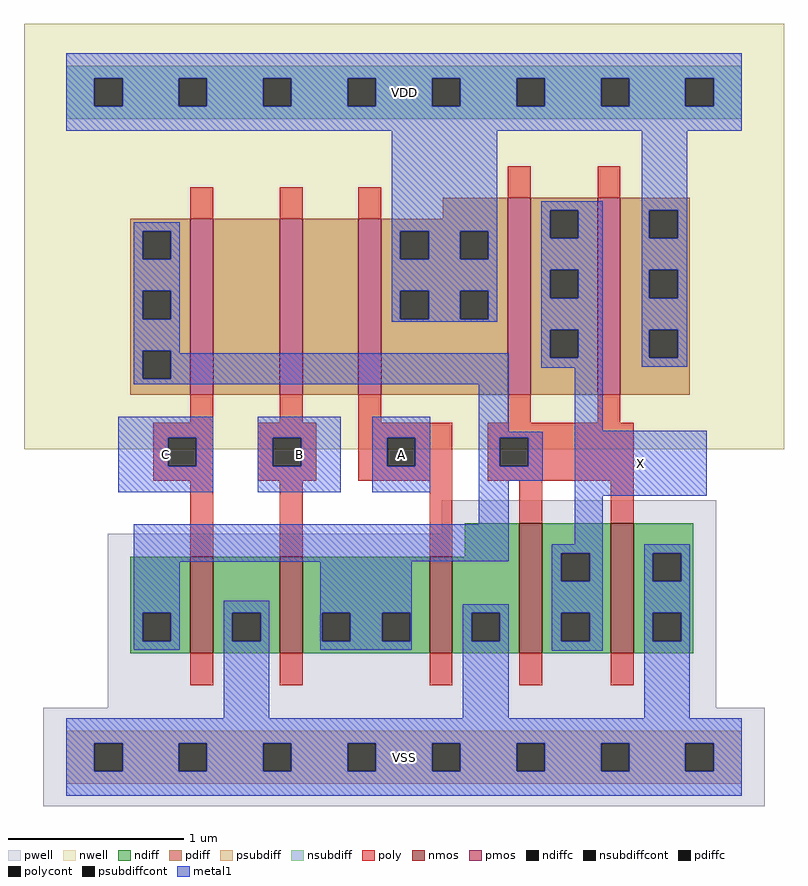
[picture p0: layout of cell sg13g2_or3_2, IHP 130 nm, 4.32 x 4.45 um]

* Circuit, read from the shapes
.subckt sg13g2_or3_2 VDD VSS C B A X
XM1 VSS C n1 VSS sg13_lv_nmos w=0.55u l=0.13u
XM2 n1 B VSS VSS sg13_lv_nmos w=0.55u l=0.13u
XM3 VSS A n1 VSS sg13_lv_nmos w=0.55u l=0.13u
XM4 X n1 VSS VSS sg13_lv_nmos w=0.74u l=0.13u m=2
XM5 n2 C n1 VDD sg13_lv_pmos w=1u l=0.13u
XM6 n3 B n2 VDD sg13_lv_pmos w=1u l=0.13u
XM7 VDD A n3 VDD sg13_lv_pmos w=1u l=0.13u
XM8 X n1 VDD VDD sg13_lv_pmos w=1.12u l=0.13u m=2
.ends

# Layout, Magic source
magic
tech ihp-sg13g2
magscale 1 2
<< nwell >>
rect -48 350 816 834
<< pwell >>
rect 427 254 739 292
rect 47 56 739 254
rect -26 -56 794 56
<< nmos >>
rect 141 118 167 228
rect 243 118 269 228
rect 413 118 439 228
rect 515 118 541 266
rect 619 118 645 266
<< pmos >>
rect 141 412 167 612
rect 243 412 269 612
rect 332 412 358 612
rect 502 412 528 636
rect 604 412 630 636
<< ndiff >>
rect 453 228 515 266
rect 73 164 141 228
rect 73 132 87 164
rect 119 132 141 164
rect 73 118 141 132
rect 167 164 243 228
rect 167 132 189 164
rect 221 132 243 164
rect 167 118 243 132
rect 269 164 413 228
rect 269 132 291 164
rect 323 132 359 164
rect 391 132 413 164
rect 269 118 413 132
rect 439 164 515 228
rect 439 132 461 164
rect 493 132 515 164
rect 439 118 515 132
rect 541 232 619 266
rect 541 200 563 232
rect 595 200 619 232
rect 541 164 619 200
rect 541 132 563 164
rect 595 132 619 164
rect 541 118 619 132
rect 645 232 713 266
rect 645 200 667 232
rect 699 200 713 232
rect 645 164 713 200
rect 645 132 667 164
rect 699 132 713 164
rect 645 118 713 132
<< pdiff >>
rect 428 612 502 636
rect 73 598 141 612
rect 73 566 87 598
rect 119 566 141 598
rect 73 530 141 566
rect 73 498 87 530
rect 119 498 141 530
rect 73 462 141 498
rect 73 430 87 462
rect 119 430 141 462
rect 73 412 141 430
rect 167 412 243 612
rect 269 412 332 612
rect 358 598 502 612
rect 358 566 380 598
rect 412 566 448 598
rect 480 566 502 598
rect 358 530 502 566
rect 358 498 380 530
rect 412 498 448 530
rect 480 498 502 530
rect 358 412 502 498
rect 528 622 604 636
rect 528 590 550 622
rect 582 590 604 622
rect 528 554 604 590
rect 528 522 550 554
rect 582 522 604 554
rect 528 486 604 522
rect 528 454 550 486
rect 582 454 604 486
rect 528 412 604 454
rect 630 622 709 636
rect 630 590 663 622
rect 695 590 709 622
rect 630 554 709 590
rect 630 522 663 554
rect 695 522 709 554
rect 630 486 709 522
rect 630 454 663 486
rect 695 454 709 486
rect 630 412 709 454
<< ndiffc >>
rect 87 132 119 164
rect 189 132 221 164
rect 291 132 323 164
rect 359 132 391 164
rect 461 132 493 164
rect 563 200 595 232
rect 563 132 595 164
rect 667 200 699 232
rect 667 132 699 164
<< pdiffc >>
rect 87 566 119 598
rect 87 498 119 530
rect 87 430 119 462
rect 380 566 412 598
rect 448 566 480 598
rect 380 498 412 530
rect 448 498 480 530
rect 550 590 582 622
rect 550 522 582 554
rect 550 454 582 486
rect 663 590 695 622
rect 663 522 695 554
rect 663 454 695 486
<< psubdiff >>
rect 0 16 768 30
rect 0 -16 32 16
rect 64 -16 128 16
rect 160 -16 224 16
rect 256 -16 320 16
rect 352 -16 416 16
rect 448 -16 512 16
rect 544 -16 608 16
rect 640 -16 704 16
rect 736 -16 768 16
rect 0 -30 768 -16
<< nsubdiff >>
rect 0 772 768 786
rect 0 740 32 772
rect 64 740 128 772
rect 160 740 224 772
rect 256 740 320 772
rect 352 740 416 772
rect 448 740 512 772
rect 544 740 608 772
rect 640 740 704 772
rect 736 740 768 772
rect 0 726 768 740
<< psubdiffcont >>
rect 32 -16 64 16
rect 128 -16 160 16
rect 224 -16 256 16
rect 320 -16 352 16
rect 416 -16 448 16
rect 512 -16 544 16
rect 608 -16 640 16
rect 704 -16 736 16
<< nsubdiffcont >>
rect 32 740 64 772
rect 128 740 160 772
rect 224 740 256 772
rect 320 740 352 772
rect 416 740 448 772
rect 512 740 544 772
rect 608 740 640 772
rect 704 740 736 772
<< poly >>
rect 141 612 167 648
rect 243 612 269 648
rect 332 612 358 648
rect 502 636 528 672
rect 604 636 630 672
rect 141 380 167 412
rect 243 380 269 412
rect 332 380 358 412
rect 502 380 528 412
rect 604 380 630 412
rect 99 363 167 380
rect 99 331 116 363
rect 148 331 167 363
rect 99 314 167 331
rect 218 363 284 380
rect 218 331 235 363
rect 267 331 284 363
rect 218 314 284 331
rect 332 363 439 380
rect 332 331 365 363
rect 397 331 439 363
rect 332 314 439 331
rect 479 363 645 380
rect 479 331 493 363
rect 525 331 645 363
rect 479 314 645 331
rect 141 228 167 314
rect 243 228 269 314
rect 413 228 439 314
rect 515 266 541 314
rect 619 266 645 314
rect 141 82 167 118
rect 243 82 269 118
rect 413 82 439 118
rect 515 82 541 118
rect 619 82 645 118
<< polycont >>
rect 116 331 148 363
rect 235 331 267 363
rect 365 331 397 363
rect 493 331 525 363
<< metal1 >>
rect 0 772 768 800
rect 0 740 32 772
rect 64 740 128 772
rect 160 740 224 772
rect 256 740 320 772
rect 352 740 416 772
rect 448 740 512 772
rect 544 740 608 772
rect 640 740 704 772
rect 736 740 768 772
rect 0 712 768 740
rect 77 598 129 608
rect 77 566 87 598
rect 119 566 129 598
rect 77 530 129 566
rect 77 498 87 530
rect 119 498 129 530
rect 77 462 129 498
rect 370 598 490 712
rect 370 566 380 598
rect 412 566 448 598
rect 480 566 490 598
rect 370 530 490 566
rect 370 498 380 530
rect 412 498 448 530
rect 480 498 490 530
rect 370 495 490 498
rect 540 622 610 632
rect 540 590 550 622
rect 582 590 610 622
rect 540 554 610 590
rect 540 522 550 554
rect 582 522 610 554
rect 77 430 87 462
rect 119 459 129 462
rect 540 486 610 522
rect 119 430 503 459
rect 540 454 550 486
rect 582 454 610 486
rect 540 443 610 454
rect 654 622 706 712
rect 654 590 663 622
rect 695 590 706 622
rect 654 554 706 590
rect 654 522 663 554
rect 695 522 706 554
rect 654 486 706 522
rect 654 454 663 486
rect 695 454 706 486
rect 654 444 706 454
rect 77 424 503 430
rect 59 363 167 387
rect 59 331 116 363
rect 148 331 167 363
rect 59 301 167 331
rect 218 363 312 387
rect 218 331 235 363
rect 267 331 312 363
rect 218 301 312 331
rect 348 363 414 387
rect 348 331 365 363
rect 397 331 414 363
rect 348 301 414 331
rect 469 370 503 424
rect 578 371 610 443
rect 469 363 542 370
rect 469 331 493 363
rect 525 331 542 363
rect 469 314 542 331
rect 469 265 503 314
rect 77 223 503 265
rect 578 297 728 371
rect 578 242 610 297
rect 552 232 610 242
rect 77 222 393 223
rect 77 164 129 222
rect 77 132 87 164
rect 119 132 129 164
rect 77 122 129 132
rect 179 164 231 178
rect 179 132 189 164
rect 221 132 231 164
rect 179 44 231 132
rect 289 164 393 222
rect 552 200 563 232
rect 595 200 610 232
rect 289 132 291 164
rect 323 132 359 164
rect 391 132 393 164
rect 289 122 393 132
rect 451 164 503 174
rect 451 132 461 164
rect 493 132 503 164
rect 451 44 503 132
rect 552 164 610 200
rect 552 132 563 164
rect 595 132 610 164
rect 552 121 610 132
rect 657 232 709 242
rect 657 200 667 232
rect 699 200 709 232
rect 657 164 709 200
rect 657 132 667 164
rect 699 132 709 164
rect 657 44 709 132
rect 0 16 768 44
rect 0 -16 32 16
rect 64 -16 128 16
rect 160 -16 224 16
rect 256 -16 320 16
rect 352 -16 416 16
rect 448 -16 512 16
rect 544 -16 608 16
rect 640 -16 704 16
rect 736 -16 768 16
rect 0 -44 768 -16
<< labels >>
flabel metal1 s 0 712 768 800 0 FreeSans 400 0 0 0 VDD
port 2 nsew
flabel metal1 s 0 -44 768 44 0 FreeSans 400 0 0 0 VSS
port 3 nsew
flabel metal1 s 59 301 167 387 0 FreeSans 400 0 0 0 C
port 4 nsew
flabel metal1 s 218 301 312 387 0 FreeSans 400 0 0 0 B
port 5 nsew
flabel metal1 s 348 301 414 387 0 FreeSans 400 0 0 0 A
port 6 nsew
flabel metal1 s 578 297 728 371 0 FreeSans 400 0 0 0 X
port 7 nsew
<< properties >>
string FIXED_BBOX 0 0 768 756
<< end >>
